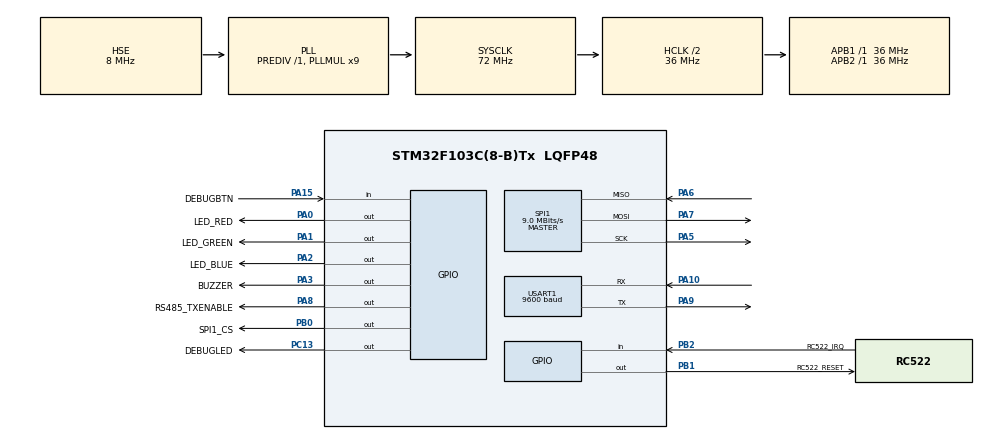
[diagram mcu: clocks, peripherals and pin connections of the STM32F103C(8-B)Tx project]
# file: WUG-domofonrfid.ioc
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FREERTOS.Tasks01=defaultTask,0,1024,StartDefaultTask,Default,NULL,Dynamic,NULL,NULL;ReceiveData,0,1024,vReceiveDataTask,Default,NULL,Dynamic,NULL,NULL;StatusReporting,0,128,vStatusReporting,Default,NULL,Dynamic,NULL,NULL
FREERTOS.configGENERATE_RUN_TIME_STATS=1
FREERTOS.configRECORD_STACK_HIGH_ADDRESS=1
FREERTOS.configTOTAL_HEAP_SIZE=15000
FREERTOS.configUSE_TRACE_FACILITY=1
Mcu.Family=STM32F1
Mcu.Name=STM32F103C(8-B)Tx
Mcu.Package=LQFP48
NVIC.PriorityGroup=NVIC_PRIORITYGROUP_4
NVIC.TIM2_IRQn=true\:5\:0\:false\:false\:true\:true\:true\:true
NVIC.TIM4_IRQn=true\:0\:0\:false\:false\:true\:false\:true\:true
NVIC.TimeBase=TIM4_IRQn
NVIC.TimeBaseIP=TIM4
NVIC.USART1_IRQn=true\:5\:0\:false\:false\:true\:true\:true\:true
PA0-WKUP.GPIO_Label=LED_RED
PA0-WKUP.Signal=GPIO_Output
PA1.GPIO_Label=LED_GREEN
PA1.Signal=GPIO_Output
PA10.Mode=Asynchronous
PA10.Signal=USART1_RX
PA13.Mode=Serial_Wire
PA13.Signal=SYS_JTMS-SWDIO
PA14.Mode=Serial_Wire
PA14.Signal=SYS_JTCK-SWCLK
PA15.GPIO_Label=DEBUGBTN
PA15.GPIO_PuPd=GPIO_PULLUP
PA15.Signal=GPIO_Input
PA2.GPIO_Label=LED_BLUE
PA2.Signal=GPIO_Output
PA3.GPIO_Label=BUZZER
PA3.Signal=GPIO_Output
PA5.Mode=Full_Duplex_Master
PA5.Signal=SPI1_SCK
PA6.Mode=Full_Duplex_Master
PA6.Signal=SPI1_MISO
PA7.Mode=Full_Duplex_Master
PA7.Signal=SPI1_MOSI
PA8.GPIO_Label=RS485_TXENABLE
PA8.Signal=GPIO_Output
PA9.Mode=Asynchronous
PA9.Signal=USART1_TX
PB0.GPIO_Label=SPI1_CS
PB0.GPIO_Speed=GPIO_SPEED_FREQ_HIGH
PB0.PinState=GPIO_PIN_SET
PB0.Signal=GPIO_Output
PB1.GPIO_Label=RC522_RESET
PB1.GPIO_PuPd=GPIO_PULLDOWN
PB1.Signal=GPIO_Output
PB2.GPIO_Label=RC522_IRQ
PB2.GPIO_Mode=GPIO_MODE_INPUT
PB2.Signal=GPIO_Input
PC13-TAMPER-RTC.GPIO_Label=DEBUGLED
PC13-TAMPER-RTC.Signal=GPIO_Output
PD0-OSC_IN.Mode=HSE-External-Oscillator
PD0-OSC_IN.Signal=RCC_OSC_IN
PD1-OSC_OUT.Mode=HSE-External-Oscillator
PD1-OSC_OUT.Signal=RCC_OSC_OUT
ProjectManager.HeapSize=0x200
ProjectManager.StackSize=0x400
ProjectManager.TargetToolchain=STM32CubeIDE
RCC.AHBCLKDivider=RCC_SYSCLK_DIV2
RCC.AHBFreq_Value=36000000
RCC.APB1Freq_Value=36000000
RCC.APB1TimFreq_Value=36000000
RCC.APB2Freq_Value=36000000
RCC.APB2TimFreq_Value=36000000
RCC.HCLKFreq_Value=36000000
RCC.PLLMUL=RCC_PLL_MUL9
RCC.PLLSourceVirtual=RCC_PLLSOURCE_HSE
RCC.SYSCLKFreq_VALUE=72000000
RCC.SYSCLKSource=RCC_SYSCLKSOURCE_PLLCLK
RCC.USBFreq_Value=72000000
SPI1.BaudRatePrescaler=SPI_BAUDRATEPRESCALER_4
SPI1.CalculateBaudRate=9.0 MBits/s
SPI1.Direction=SPI_DIRECTION_2LINES
SPI1.Mode=SPI_MODE_MASTER
SPI1.VirtualType=VM_MASTER
TIM2.Period=10000-1
TIM2.Prescaler=4
USART1.BaudRate=9600
USART1.VirtualMode=VM_ASYNC
VP_FREERTOS_VS_CMSIS_V1.Mode=CMSIS_V1
VP_SYS_VS_tim4.Mode=TIM4
VP_TIM2_VS_ClockSourceINT.Mode=Internal
board=custom

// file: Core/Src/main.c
/* USER CODE BEGIN Header */
/**
  ******************************************************************************
  * @file           : main.c
  * @brief          : Main program body
  ******************************************************************************
  * @attention
  *
  * <h2><center>&copy; Copyright (c) 2020 STMicroelectronics.
  * All rights reserved.</center></h2>
  *
  * This software component is licensed by ST under BSD 3-Clause license,
  * the "License"; You may not use this file except in compliance with the
  * License. You may obtain a copy of the License at:
  *                        opensource.org/licenses/BSD-3-Clause
  *
  ******************************************************************************
  */
/* USER CODE END Header */

#include "main.h"
#include "cmsis_os.h"

/* USER CODE BEGIN Includes */
#include "rc522.h"
#include <stdio.h>
#include <string.h>
#include "led.h"
/* USER CODE END Includes */

/* USER CODE BEGIN PTD */
typedef enum{
	CONN_TIMEOUT,
	UID_UNKNOWN,
	READY,
	CONN_IN_PROGRESS,
	WAITING_FOR_RESPONSE,
	UID_VALID,
	ERROR_READER,
	ERROR_SQL,
	ERROR_HTTP,
	ERROR_SERVER,
	ERROR_WIFI}device_status_typedef;
/* USER CODE END PTD */

/* USER CODE BEGIN PD */
#define CONNECTION_TIMEOUT  5  //timeout in seconds
/* USER CODE END PD */

SPI_HandleTypeDef hspi1;

TIM_HandleTypeDef htim2;

UART_HandleTypeDef huart1;

osThreadId defaultTaskHandle;
osThreadId ReceiveDataHandle;
osThreadId StatusReportingHandle;
/* USER CODE BEGIN PV */
uint8_t cardIDarray [5];
uint32_t lastCardIDdec=0;
uint32_t lastRFReadSystick=0;
device_status_typedef device_status=READY;

/* USER CODE END PV */

void SystemClock_Config(void);
static void MX_GPIO_Init(void);
static void MX_SPI1_Init(void);
static void MX_USART1_UART_Init(void);
static void MX_TIM2_Init(void);
void StartDefaultTask(void const * argument);
void vReceiveDataTask(void const * argument);
void vStatusReporting(void const * argument);

int main(void)
{

  /* MCU Configuration--------------------------------------------------------*/

  /* Reset of all peripherals, Initializes the Flash interface and the Systick. */
  HAL_Init();

  /* Configure the system clock */
  SystemClock_Config();

  /* Initialize all configured peripherals */
  MX_GPIO_Init();
  MX_SPI1_Init();
  MX_USART1_UART_Init();
  MX_TIM2_Init();
  /* USER CODE BEGIN 2 */
  MFRC522_Init();
  //HAL_TIM_PWM_Start_IT(&htim2, TIM_CHANNEL_ALL);

  /* USER CODE END 2 */

  /* Create the thread(s) */
  /* definition and creation of defaultTask */
  osThreadDef(defaultTask, StartDefaultTask, osPriorityNormal, 0, 1024);
  defaultTaskHandle = osThreadCreate(osThread(defaultTask), NULL);

  /* definition and creation of ReceiveData */
  osThreadDef(ReceiveData, vReceiveDataTask, osPriorityNormal, 0, 1024);
  ReceiveDataHandle = osThreadCreate(osThread(ReceiveData), NULL);

  /* definition and creation of StatusReporting */
  osThreadDef(StatusReporting, vStatusReporting, osPriorityNormal, 0, 128);
  StatusReportingHandle = osThreadCreate(osThread(StatusReporting), NULL);

  /* Start scheduler */
  osKernelStart();

  /* We should never get here as control is now taken by the scheduler */
  /* Infinite loop */
  while (1)
  {

  }
}

void SystemClock_Config(void)
{
  RCC_OscInitTypeDef RCC_OscInitStruct = {0};
  RCC_ClkInitTypeDef RCC_ClkInitStruct = {0};

  /** Initializes the CPU, AHB and APB busses clocks
  */
  RCC_OscInitStruct.OscillatorType = RCC_OSCILLATORTYPE_HSE;
  RCC_OscInitStruct.HSEState = RCC_HSE_ON;
  RCC_OscInitStruct.HSEPredivValue = RCC_HSE_PREDIV_DIV1;
  RCC_OscInitStruct.HSIState = RCC_HSI_ON;
  RCC_OscInitStruct.PLL.PLLState = RCC_PLL_ON;
  RCC_OscInitStruct.PLL.PLLSource = RCC_PLLSOURCE_HSE;
  RCC_OscInitStruct.PLL.PLLMUL = RCC_PLL_MUL9;
  if (HAL_RCC_OscConfig(&RCC_OscInitStruct) != HAL_OK)
  {
    Error_Handler();
  }
  /** Initializes the CPU, AHB and APB busses clocks
  */
  RCC_ClkInitStruct.ClockType = RCC_CLOCKTYPE_HCLK|RCC_CLOCKTYPE_SYSCLK
                              |RCC_CLOCKTYPE_PCLK1|RCC_CLOCKTYPE_PCLK2;
  RCC_ClkInitStruct.SYSCLKSource = RCC_SYSCLKSOURCE_PLLCLK;
  RCC_ClkInitStruct.AHBCLKDivider = RCC_SYSCLK_DIV2;
  RCC_ClkInitStruct.APB1CLKDivider = RCC_HCLK_DIV1;
  RCC_ClkInitStruct.APB2CLKDivider = RCC_HCLK_DIV1;

  if (HAL_RCC_ClockConfig(&RCC_ClkInitStruct, FLASH_LATENCY_2) != HAL_OK)
  {
    Error_Handler();
  }
}

static void MX_SPI1_Init(void)
{

  /* SPI1 parameter configuration*/
  hspi1.Instance = SPI1;
  hspi1.Init.Mode = SPI_MODE_MASTER;
  hspi1.Init.Direction = SPI_DIRECTION_2LINES;
  hspi1.Init.DataSize = SPI_DATASIZE_8BIT;
  hspi1.Init.CLKPolarity = SPI_POLARITY_LOW;
  hspi1.Init.CLKPhase = SPI_PHASE_1EDGE;
  hspi1.Init.NSS = SPI_NSS_SOFT;
  hspi1.Init.BaudRatePrescaler = SPI_BAUDRATEPRESCALER_4;
  hspi1.Init.FirstBit = SPI_FIRSTBIT_MSB;
  hspi1.Init.TIMode = SPI_TIMODE_DISABLE;
  hspi1.Init.CRCCalculation = SPI_CRCCALCULATION_DISABLE;
  hspi1.Init.CRCPolynomial = 10;
  if (HAL_SPI_Init(&hspi1) != HAL_OK)
  {
    Error_Handler();
  }

}

static void MX_TIM2_Init(void)
{

  TIM_ClockConfigTypeDef sClockSourceConfig = {0};
  TIM_MasterConfigTypeDef sMasterConfig = {0};

  htim2.Instance = TIM2;
  htim2.Init.Prescaler = 4;
  htim2.Init.CounterMode = TIM_COUNTERMODE_UP;
  htim2.Init.Period = 10000-1;
  htim2.Init.ClockDivision = TIM_CLOCKDIVISION_DIV1;
  htim2.Init.AutoReloadPreload = TIM_AUTORELOAD_PRELOAD_DISABLE;
  if (HAL_TIM_Base_Init(&htim2) != HAL_OK)
  {
    Error_Handler();
  }
  sClockSourceConfig.ClockSource = TIM_CLOCKSOURCE_INTERNAL;
  if (HAL_TIM_ConfigClockSource(&htim2, &sClockSourceConfig) != HAL_OK)
  {
    Error_Handler();
  }
  sMasterConfig.MasterOutputTrigger = TIM_TRGO_RESET;
  sMasterConfig.MasterSlaveMode = TIM_MASTERSLAVEMODE_DISABLE;
  if (HAL_TIMEx_MasterConfigSynchronization(&htim2, &sMasterConfig) != HAL_OK)
  {
    Error_Handler();
  }

}

static void MX_USART1_UART_Init(void)
{

  huart1.Instance = USART1;
  huart1.Init.BaudRate = 9600;
  huart1.Init.WordLength = UART_WORDLENGTH_8B;
  huart1.Init.StopBits = UART_STOPBITS_1;
  huart1.Init.Parity = UART_PARITY_NONE;
  huart1.Init.Mode = UART_MODE_TX_RX;
  huart1.Init.HwFlowCtl = UART_HWCONTROL_NONE;
  huart1.Init.OverSampling = UART_OVERSAMPLING_16;
  if (HAL_UART_Init(&huart1) != HAL_OK)
  {
    Error_Handler();
  }

}

static void MX_GPIO_Init(void)
{
  GPIO_InitTypeDef GPIO_InitStruct = {0};

  /* GPIO Ports Clock Enable */
  __HAL_RCC_GPIOC_CLK_ENABLE();
  __HAL_RCC_GPIOD_CLK_ENABLE();
  __HAL_RCC_GPIOA_CLK_ENABLE();
  __HAL_RCC_GPIOB_CLK_ENABLE();

  /*Configure GPIO pin Output Level */
  HAL_GPIO_WritePin(DEBUGLED_GPIO_Port, DEBUGLED_Pin, GPIO_PIN_RESET);

  /*Configure GPIO pin Output Level */
  HAL_GPIO_WritePin(GPIOA, LED_RED_Pin|LED_GREEN_Pin|LED_BLUE_Pin|BUZZER_Pin
                          |RS485_TXENABLE_Pin, GPIO_PIN_RESET);

  /*Configure GPIO pin Output Level */
  HAL_GPIO_WritePin(SPI1_CS_GPIO_Port, SPI1_CS_Pin, GPIO_PIN_SET);

  /*Configure GPIO pin Output Level */
  HAL_GPIO_WritePin(RC522_RESET_GPIO_Port, RC522_RESET_Pin, GPIO_PIN_RESET);

  /*Configure GPIO pin : DEBUGLED_Pin */
  GPIO_InitStruct.Pin = DEBUGLED_Pin;
  GPIO_InitStruct.Mode = GPIO_MODE_OUTPUT_PP;
  GPIO_InitStruct.Pull = GPIO_NOPULL;
  GPIO_InitStruct.Speed = GPIO_SPEED_FREQ_LOW;
  HAL_GPIO_Init(DEBUGLED_GPIO_Port, &GPIO_InitStruct);

  /*Configure GPIO pins : LED_RED_Pin LED_GREEN_Pin LED_BLUE_Pin BUZZER_Pin
                           RS485_TXENABLE_Pin */
  GPIO_InitStruct.Pin = LED_RED_Pin|LED_GREEN_Pin|LED_BLUE_Pin|BUZZER_Pin
                          |RS485_TXENABLE_Pin;
  GPIO_InitStruct.Mode = GPIO_MODE_OUTPUT_PP;
  GPIO_InitStruct.Pull = GPIO_NOPULL;
  GPIO_InitStruct.Speed = GPIO_SPEED_FREQ_LOW;
  HAL_GPIO_Init(GPIOA, &GPIO_InitStruct);

  /*Configure GPIO pin : SPI1_CS_Pin */
  GPIO_InitStruct.Pin = SPI1_CS_Pin;
  GPIO_InitStruct.Mode = GPIO_MODE_OUTPUT_PP;
  GPIO_InitStruct.Pull = GPIO_NOPULL;
  GPIO_InitStruct.Speed = GPIO_SPEED_FREQ_HIGH;
  HAL_GPIO_Init(SPI1_CS_GPIO_Port, &GPIO_InitStruct);

  /*Configure GPIO pin : RC522_RESET_Pin */
  GPIO_InitStruct.Pin = RC522_RESET_Pin;
  GPIO_InitStruct.Mode = GPIO_MODE_OUTPUT_PP;
  GPIO_InitStruct.Pull = GPIO_PULLDOWN;
  GPIO_InitStruct.Speed = GPIO_SPEED_FREQ_LOW;
  HAL_GPIO_Init(RC522_RESET_GPIO_Port, &GPIO_InitStruct);

  /*Configure GPIO pin : RC522_IRQ_Pin */
  GPIO_InitStruct.Pin = RC522_IRQ_Pin;
  GPIO_InitStruct.Mode = GPIO_MODE_INPUT;
  GPIO_InitStruct.Pull = GPIO_NOPULL;
  HAL_GPIO_Init(RC522_IRQ_GPIO_Port, &GPIO_InitStruct);

  /*Configure GPIO pin : DEBUGBTN_Pin */
  GPIO_InitStruct.Pin = DEBUGBTN_Pin;
  GPIO_InitStruct.Mode = GPIO_MODE_INPUT;
  GPIO_InitStruct.Pull = GPIO_PULLUP;
  HAL_GPIO_Init(DEBUGBTN_GPIO_Port, &GPIO_InitStruct);

}

/* USER CODE BEGIN Header_StartDefaultTask */
/**
  * @brief  Main task polling reader for new card UID to process
  * @param  argument: Not used
  * @retval None
  */
/* USER CODE END Header_StartDefaultTask */
void StartDefaultTask(void const * argument)
{
  /* USER CODE BEGIN 5 */
	char UARTInitMsg[10];
	  snprintf(UARTInitMsg,10,"INIT\r\n");
	  HAL_GPIO_WritePin(RS485_TXENABLE_GPIO_Port, RS485_TXENABLE_Pin, GPIO_PIN_SET);
	  HAL_UART_Transmit(&huart1, (uint8_t *) UARTInitMsg, strlen(UARTInitMsg),20);
	  HAL_GPIO_WritePin(RS485_TXENABLE_GPIO_Port, RS485_TXENABLE_Pin, GPIO_PIN_RESET);
	/* Infinite loop */
	for(;;)
	{
		if(MFRC522_Check(cardIDarray)==MI_OK){
			HAL_GPIO_WritePin(DEBUGLED_GPIO_Port, DEBUGLED_Pin,GPIO_PIN_SET);
			BUZZ_Enable();
			uint32_t cardIDdec;
			cardIDdec =  (uint32_t)cardIDarray[0] << 24;
			cardIDdec += (uint32_t)cardIDarray[1] << 16;
			cardIDdec += (uint32_t)cardIDarray[2] <<  8;
			cardIDdec += (uint32_t)cardIDarray[3];
			if(cardIDdec!=lastCardIDdec || (lastRFReadSystick+7000 < xTaskGetTickCount()) || lastRFReadSystick>xTaskGetTickCount()){ //dont accept 2 reads of the same card within 10 sec(ignore if systick overflowed)

				lastCardIDdec=cardIDdec;
				lastRFReadSystick=xTaskGetTickCount();
				device_status=CONN_IN_PROGRESS;
				osDelay(200);
				HAL_GPIO_WritePin(DEBUGLED_GPIO_Port, DEBUGLED_Pin,GPIO_PIN_RESET);
				BUZZ_Disable();
				vTaskResume(ReceiveDataHandle);
				vTaskSuspend(defaultTaskHandle);
			}
			else{
				osDelay(5);
				HAL_GPIO_WritePin(DEBUGLED_GPIO_Port, DEBUGLED_Pin,GPIO_PIN_RESET);
				BUZZ_Disable();
			}
		}

		osDelay(100);
	}
  /* USER CODE END 5 */
}

/* USER CODE BEGIN Header_vReceiveDataTask */
/**
* @brief Function implementing ReceiveData thread which handles communication and device state changes
* @param argument: Not used
* @retval None
*/
/* USER CODE END Header_vReceiveDataTask */
void vReceiveDataTask(void const * argument)
{
	/* USER CODE BEGIN vReceiveDataTask */
	vTaskSuspend(ReceiveDataHandle); //suspended by default until new UID is read in DefaultTask thread
	/* Infinite loop */
	for(;;)
	{
		uint8_t UARTReceiveBuffer=8;
		uint8_t* pUARTReceiveBuffer=&UARTReceiveBuffer;
		HAL_UART_Receive(&huart1, pUARTReceiveBuffer, 1, 100); //start receiver and read anything that was in UART already

		//////SEND PING AND THEN CARD UID VIA RS485////
		//__HAL_UART_FLUSH_DRREGISTER(&huart1);
		char UARTSendBuffer[20];
		snprintf(UARTSendBuffer,20,"PING\r\n");
		HAL_GPIO_WritePin(RS485_TXENABLE_GPIO_Port, RS485_TXENABLE_Pin, GPIO_PIN_SET); //enable TX on transceiver
		osDelay(2);
		HAL_UART_Transmit(&huart1, (uint8_t *) UARTSendBuffer, strlen(UARTSendBuffer),15); //transmit in blocking mode - no need to implement DMA or interrupts
		HAL_GPIO_WritePin(RS485_TXENABLE_GPIO_Port, RS485_TXENABLE_Pin, GPIO_PIN_RESET); //RS485 transceiver is high impedance (listening for response)

		osDelay(5); //wait for indoor unit to process and reply

		switch(HAL_UART_Receive(&huart1, pUARTReceiveBuffer, 1, 100)){
		case HAL_TIMEOUT:
			device_status=CONN_TIMEOUT;
			break;
		case HAL_ERROR:
			device_status=ERROR_READER;
			break;
		case HAL_OK:
			if(UARTReceiveBuffer=='9'){ //indoor unit responds with '9' if its ready to process new UID
				snprintf(UARTSendBuffer,20,"ID%lu\r\n",lastCardIDdec);
				HAL_GPIO_WritePin(RS485_TXENABLE_GPIO_Port, RS485_TXENABLE_Pin, GPIO_PIN_SET); //enable TX on transceiver
				HAL_UART_Transmit(&huart1, (uint8_t *) UARTSendBuffer, strlen(UARTSendBuffer),15); //transmit in blocking mode - no need to implement DMA or interrupts
				osDelay(10);
				HAL_GPIO_WritePin(RS485_TXENABLE_GPIO_Port, RS485_TXENABLE_Pin, GPIO_PIN_RESET); //RS485 transceiver is high impedance (listening for response)

				device_status=WAITING_FOR_RESPONSE;
				__HAL_UART_FLUSH_DRREGISTER(&huart1);
				switch(HAL_UART_Receive(&huart1, pUARTReceiveBuffer, 1, 8000)){ //receiving in blocking mode to use 8s timeout if there is a problem within indoor unit
				case HAL_TIMEOUT:
					device_status=CONN_TIMEOUT;
					break;
				case HAL_OK:
					//device_status=READY;
					switch(UARTReceiveBuffer){      /////////set reader state depending on received code from indoor unit
					case '1': 						//UID OK
						device_status=UID_VALID;
						break;
					case '0':						//UID unknown/intruder
						device_status=UID_UNKNOWN;
						break;
					case '2':						//SQL error
						device_status=ERROR_SQL;
						break;
					case '3':						//HTTP ERROR
						device_status=ERROR_HTTP;
						break;
					case '4':						//SERVER ERROR
						device_status=ERROR_SERVER;
						break;
					case '5':						//WIFI ERROR
						device_status=ERROR_WIFI;
						break;
					default:
						device_status=ERROR_READER;
						break;
					}
					break;
					case HAL_ERROR:
						device_status=ERROR_READER;
						break;
					default:
						device_status=READY;
						break;
				}
			}
			else{
				device_status=ERROR_READER;
				break;
			}
			break;
		}

		vTaskResume(defaultTaskHandle);
		vTaskSuspend(ReceiveDataHandle); //task suspended, default task is now in charge
	}
  /* USER CODE END vReceiveDataTask */
}

void vStatusReporting(void const * argument)
{
  /* USER CODE BEGIN vStatusReporting */
	osDelay(100);
	LED_Init();
  /* Infinite loop */
	for(;;)
	{
		 // HAL_TIM_StateTypeDef timstate = HAL_TIM_PWM_GetState(&htim2);
		switch(device_status){
		case READY:
			LED_SetColor(BLUE);
			osDelay(3);
			LED_Clear();
			break;
		case CONN_IN_PROGRESS:
			LED_Clear();
			for(uint8_t i=0;i<3;i++){
				LED_SetColor(BLUE);
				osDelay(50);
				LED_Clear();
				osDelay(200);
			}
			break;
		case WAITING_FOR_RESPONSE:
			LED_Clear();
			for(uint8_t i=0;i<3;i++){
				LED_SetColor(BLUE);
				osDelay(50);
				LED_Clear();
				osDelay(200);
			}
			break;
		case UID_VALID:
			vTaskSuspend(defaultTaskHandle);
			LED_Clear();
			LED_SetColor(GREEN);
			BUZZ_Enable();
			osDelay(2000);
			device_status=READY;
			BUZZ_Disable();
			vTaskResume(defaultTaskHandle);
			break;
////ERROR signalling with blinking RED led and buzzer/////
		case UID_UNKNOWN:
			vTaskSuspend(defaultTaskHandle);
			LED_SignalDeviceError(1); //1 beep for unknown
			device_status=READY;
			vTaskResume(defaultTaskHandle);
			break;
		case ERROR_SQL:
			vTaskSuspend(defaultTaskHandle);
			LED_SignalDeviceError(2); //2 beeps for SQL error
			device_status=READY;
			vTaskResume(defaultTaskHandle);
			break;
		case ERROR_HTTP:
			vTaskSuspend(defaultTaskHandle);
			LED_SignalDeviceError(3); //3 beeps for HTTP error
			device_status=READY;
			vTaskResume(defaultTaskHandle);
			break;
		case ERROR_SERVER:
			vTaskSuspend(defaultTaskHandle);
			LED_SignalDeviceError(4); //4 beeps for server error
			device_status=READY;
			vTaskResume(defaultTaskHandle);
			break;
		case ERROR_WIFI:
			vTaskSuspend(defaultTaskHandle);
			LED_SignalDeviceError(5); //5 beeps for wifi error
			device_status=READY;
			vTaskResume(defaultTaskHandle);
			break;
		default:
			vTaskSuspend(defaultTaskHandle);
			LED_SignalDeviceError(6); //6 beeps for other problems
			device_status=READY;
			vTaskResume(defaultTaskHandle);
			break;
		}
		osDelay(10);
	}
  /* USER CODE END vStatusReporting */
}

 /**
  * @brief  Period elapsed callback in non blocking mode
  * @note   This function is called  when TIM4 interrupt took place, inside
  * HAL_TIM_IRQHandler(). It makes a direct call to HAL_IncTick() to increment
  * a global variable "uwTick" used as application time base.
  * @param  htim : TIM handle
  * @retval None
  */
void HAL_TIM_PeriodElapsedCallback(TIM_HandleTypeDef *htim)
{
  if (htim->Instance == TIM4) {
    HAL_IncTick();
  }
}

void Error_Handler(void)
{
}

/************************ (C) COPYRIGHT STMicroelectronics *****END OF FILE****/

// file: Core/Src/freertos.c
/* USER CODE BEGIN Header */
/**
  ******************************************************************************
  * File Name          : freertos.c
  * Description        : Code for freertos applications
  ******************************************************************************
  * @attention
  *
  * <h2><center>&copy; Copyright (c) 2020 STMicroelectronics.
  * All rights reserved.</center></h2>
  *
  * This software component is licensed by ST under Ultimate Liberty license
  * SLA0044, the "License"; You may not use this file except in compliance with
  * the License. You may obtain a copy of the License at:
  *                             www.st.com/SLA0044
  *
  ******************************************************************************
  */
/* USER CODE END Header */

#include "FreeRTOS.h"
#include "task.h"
#include "main.h"

/* GetIdleTaskMemory prototype (linked to static allocation support) */
void vApplicationGetIdleTaskMemory( StaticTask_t **ppxIdleTaskTCBBuffer, StackType_t **ppxIdleTaskStackBuffer, uint32_t *pulIdleTaskStackSize );

/* Hook prototypes */
void configureTimerForRunTimeStats(void);
unsigned long getRunTimeCounterValue(void);

/* USER CODE BEGIN 1 */
/* Functions needed when configGENERATE_RUN_TIME_STATS is on */
__weak void configureTimerForRunTimeStats(void)
{

}

__weak unsigned long getRunTimeCounterValue(void)
{
return 0;
}
/* USER CODE END 1 */

/* USER CODE BEGIN GET_IDLE_TASK_MEMORY */
static StaticTask_t xIdleTaskTCBBuffer;
static StackType_t xIdleStack[configMINIMAL_STACK_SIZE];

void vApplicationGetIdleTaskMemory( StaticTask_t **ppxIdleTaskTCBBuffer, StackType_t **ppxIdleTaskStackBuffer, uint32_t *pulIdleTaskStackSize )
{
  *ppxIdleTaskTCBBuffer = &xIdleTaskTCBBuffer;
  *ppxIdleTaskStackBuffer = &xIdleStack[0];
  *pulIdleTaskStackSize = configMINIMAL_STACK_SIZE;
  /* place for user code */
}
/* USER CODE END GET_IDLE_TASK_MEMORY */

/************************ (C) COPYRIGHT STMicroelectronics *****END OF FILE****/
